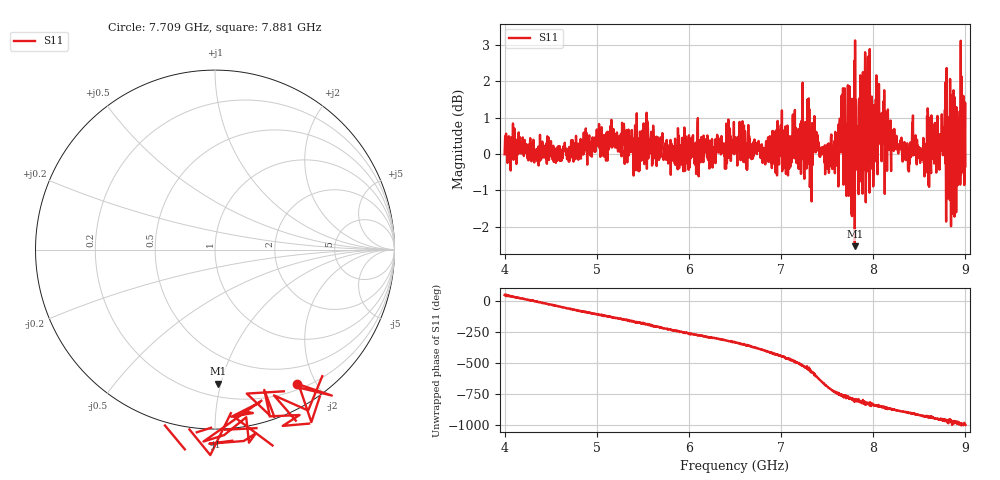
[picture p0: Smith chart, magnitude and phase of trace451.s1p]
! Created with skrf 1.8.0 (http://scikit-rf.org).
# Hz S RI R 50.0
!freq ReS11 ImS11
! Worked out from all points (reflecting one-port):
!   1601 points, 4 GHz to 9 GHz, reference 50 ohm
!   lowest |S11| = -2.5 dB at 7.8 GHz (marker M1), VSWR 6.90, Z = 14.5 - j49.1 ohm
!   phase of S11 starts at 51 deg and turns -1053 deg over the sweep
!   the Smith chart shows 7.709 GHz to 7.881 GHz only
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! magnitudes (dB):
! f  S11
! 4 GHz  0.0
! 4.625 GHz  -0.1
! 5.25 GHz  0.1
! 5.875 GHz  0.2
! 6.5 GHz  0.2
! 7.075 GHz  -0.6
! 7.125 GHz  0.9
! 7.178 GHz  0.3
! 7.281 GHz  -0.1
! 7.328 GHz  0.0
! 7.372 GHz  0.6
! 7.512 GHz  -0.2
! 7.606 GHz  0.1
! 7.669 GHz  0.9
! 7.722 GHz  0.0
! 7.75 GHz  0.4
! 7.784 GHz  -0.7
! 7.8 GHz  -2.5
! 8.022 GHz  -0.2
! 8.05 GHz  0.9
! 8.375 GHz  -0.1
! 8.441 GHz  0.1
! 8.581 GHz  -0.1
! 8.775 GHz  0.9
! 8.841 GHz  1.6
! 8.919 GHz  -0.3
! 8.959 GHz  2.1
! 9 GHz  -0.3
